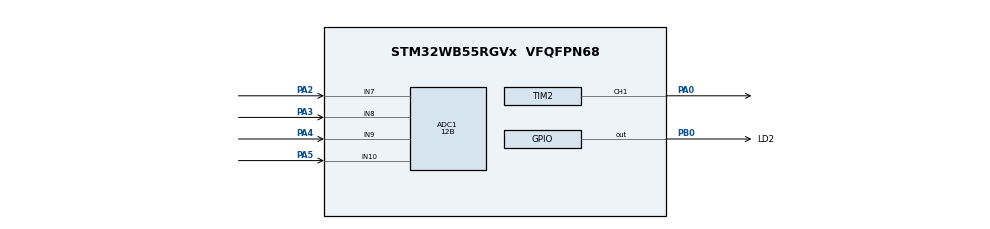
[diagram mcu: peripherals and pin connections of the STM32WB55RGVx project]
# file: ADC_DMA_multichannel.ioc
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ADC1.Channel-0\#ChannelRegularConversion=ADC_CHANNEL_7
ADC1.Channel-1\#ChannelRegularConversion=ADC_CHANNEL_8
ADC1.Channel-2\#ChannelRegularConversion=ADC_CHANNEL_9
ADC1.Channel-3\#ChannelRegularConversion=ADC_CHANNEL_10
ADC1.ContinuousConvMode=ENABLE
ADC1.DMAContinuousRequests=ENABLE
ADC1.NbrOfConversion=4
ADC1.NbrOfConversionFlag=1
ADC1.OffsetNumber-0\#ChannelRegularConversion=ADC_OFFSET_NONE
ADC1.OffsetNumber-1\#ChannelRegularConversion=ADC_OFFSET_NONE
ADC1.OffsetNumber-2\#ChannelRegularConversion=ADC_OFFSET_NONE
ADC1.OffsetNumber-3\#ChannelRegularConversion=ADC_OFFSET_NONE
ADC1.OversamplingMode=ENABLE
ADC1.Rank-0\#ChannelRegularConversion=1
ADC1.Rank-1\#ChannelRegularConversion=2
ADC1.Rank-2\#ChannelRegularConversion=3
ADC1.Rank-3\#ChannelRegularConversion=4
ADC1.Ratio=ADC_OVERSAMPLING_RATIO_256
ADC1.Resolution=ADC_RESOLUTION_12B
ADC1.RightBitShift=ADC_RIGHTBITSHIFT_4
ADC1.SamplingTime-0\#ChannelRegularConversion=ADC_SAMPLETIME_92CYCLES_5
ADC1.SamplingTime-1\#ChannelRegularConversion=ADC_SAMPLETIME_92CYCLES_5
ADC1.SamplingTime-2\#ChannelRegularConversion=ADC_SAMPLETIME_92CYCLES_5
ADC1.SamplingTime-3\#ChannelRegularConversion=ADC_SAMPLETIME_92CYCLES_5
ADC1.master=1
Dma.ADC1.0.Direction=DMA_PERIPH_TO_MEMORY
Dma.ADC1.0.EventEnable=DISABLE
Dma.ADC1.0.Instance=DMA1_Channel1
Dma.ADC1.0.MemDataAlignment=DMA_MDATAALIGN_WORD
Dma.ADC1.0.MemInc=DMA_MINC_ENABLE
Dma.ADC1.0.Mode=DMA_CIRCULAR
Dma.ADC1.0.PeriphDataAlignment=DMA_PDATAALIGN_HALFWORD
Dma.ADC1.0.PeriphInc=DMA_PINC_DISABLE
Dma.ADC1.0.Polarity=HAL_DMAMUX_REQ_GEN_RISING
Dma.ADC1.0.Priority=DMA_PRIORITY_VERY_HIGH
Dma.ADC1.0.RequestNumber=1
Dma.ADC1.0.SignalID=NONE
Dma.ADC1.0.SyncEnable=DISABLE
Dma.ADC1.0.SyncPolarity=HAL_DMAMUX_SYNC_NO_EVENT
Dma.ADC1.0.SyncRequestNumber=1
Dma.ADC1.0.SyncSignalID=NONE
Dma.Request0=ADC1
Mcu.Family=STM32WB
Mcu.Name=STM32WB55RGVx
Mcu.Package=VFQFPN68
NVIC.ADC1_IRQn=true\:0\:0\:false\:false\:true\:true\:true\:true
NVIC.DMA1_Channel1_IRQn=true\:0\:0\:false\:false\:true\:false\:true\:true
NVIC.PriorityGroup=NVIC_PRIORITYGROUP_4
OSC_IN.Mode=HSE-External-Oscillator
OSC_IN.Signal=RCC_OSC_IN
OSC_OUT.Mode=HSE-External-Oscillator
OSC_OUT.Signal=RCC_OSC_OUT
PA0.Signal=S_TIM2_CH1
PA2.Signal=ADCx_IN7
PA3.Signal=ADCx_IN8
PA4.Signal=ADCx_IN9
PA5.Signal=ADCx_IN10
PB0.GPIO_Label=LD2
PB0.Signal=GPIO_Output
ProjectManager.HeapSize=0x200
ProjectManager.StackSize=0x400
ProjectManager.TargetToolchain=STM32CubeIDE
RCC.ADCFreq_Value=48000000
RCC.AHBFreq_Value=32000000
RCC.APB1Freq_Value=32000000
RCC.APB1TimFreq_Value=32000000
RCC.APB2Freq_Value=32000000
RCC.APB2TimFreq_Value=32000000
RCC.APB3Freq_Value=4000000
RCC.Cortex2_Div=SYSTICK_CLKSOURCE_HCLK_DIV8
RCC.CortexFreq_Value=32000000
RCC.HCLKFreq_Value=32000000
RCC.HSE_VALUE=8000000
RCC.HSI48_VALUE=48000000
RCC.HSI_VALUE=16000000
RCC.LSE_VALUE=32768
RCC.PLLN=24
RCC.PLLR=RCC_PLLR_DIV3
RCC.PLLSAI1N=24
RCC.SYSCLKFreq_VALUE=32000000
RCC.SYSCLKSource=RCC_SYSCLKSOURCE_PLLCLK
RCC.USBFreq_Value=48000000
RCC.VCOOutputFreq_Value=96000000
SH.ADCx_IN10.0=ADC1_IN10,IN10-Single-Ended
SH.ADCx_IN7.0=ADC1_IN7,IN7-Single-Ended
SH.ADCx_IN8.0=ADC1_IN8,IN8-Single-Ended
SH.ADCx_IN9.0=ADC1_IN9,IN9-Single-Ended
SH.S_TIM2_CH1.0=TIM2_CH1,PWM Generation1 CH1
TIM2.AutoReloadPreload=TIM_AUTORELOAD_PRELOAD_ENABLE
TIM2.Channel-PWM\ Generation1\ CH1=TIM_CHANNEL_1
TIM2.Period=65535
VP_TIM2_VS_ClockSourceINT.Mode=Internal
board=custom

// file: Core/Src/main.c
/* USER CODE BEGIN Header */
/**
  ******************************************************************************
  * @file           : main.c
  * @brief          : Main program body
  ******************************************************************************
  * @attention
  *
  * Copyright (c) 2023 STMicroelectronics.
  * All rights reserved.
  *
  * This software is licensed under terms that can be found in the LICENSE file
  * in the root directory of this software component.
  * If no LICENSE file comes with this software, it is provided AS-IS.
  *
  ******************************************************************************
  */
//ADC_DMA_multi+oversampling(scratch)
/* USER CODE END Header */
#include "main.h"

/* USER CODE BEGIN Includes */
#include <string.h>
#include <stdio.h>
/* USER CODE END Includes */

/* USER CODE BEGIN PD */
#define ADC_BUF_LEN 4
/* USER CODE END PD */

ADC_HandleTypeDef hadc1;
DMA_HandleTypeDef hdma_adc1;

TIM_HandleTypeDef htim2;

/* USER CODE BEGIN PV */
uint32_t adc[4], buffer[4]; //ADC val, adc[0]=CH7(PA2/D1), adc[1]=CH8(PA3/D0), adc[2]=CH9(PA4/D10), adc[3]=CH10(PA5/D13)
float vOUT; //calculated output voltage
float vIN; //input voltage derived from ADC val[0]
float R1 = 30000.0;
float R2 = 7500.0;
float Amps; //input current derived from ADC val[1]
float Psi_1; //input pressure derived from ADC val[2]
float Psi_2; //input pressure derived from ADC val[3]
/* USER CODE END PV */

void SystemClock_Config(void);
void PeriphCommonClock_Config(void);
static void MX_GPIO_Init(void);
static void MX_DMA_Init(void);
static void MX_ADC1_Init(void);
static void MX_TIM2_Init(void);

int main(void)
{

  /* MCU Configuration--------------------------------------------------------*/

  /* Reset of all peripherals, Initializes the Flash interface and the Systick. */
  HAL_Init();

  /* Configure the system clock */
  SystemClock_Config();

/* Configure the peripherals common clocks */
  PeriphCommonClock_Config();

  /* Initialize all configured peripherals */
  MX_GPIO_Init();
  MX_DMA_Init();
  MX_ADC1_Init();
  MX_TIM2_Init();
  /* USER CODE BEGIN 2 */
  HAL_TIM_PWM_Start(&htim2, TIM_CHANNEL_1);
  // Calibrate The ADC On Power-Up For Better Accuracy
  HAL_ADCEx_Calibration_Start(&hadc1, ADC_SINGLE_ENDED);
  /* USER CODE END 2 */

  /* Infinite loop */
  /* USER CODE BEGIN WHILE */
  while (1)
  {
      HAL_ADC_Start_DMA(&hadc1, buffer, ADC_BUF_LEN); //start ADC -> read adc1 value -> read adc2 value -> read adc3 value and stop ADC
      HAL_Delay(100);
    /* USER CODE END WHILE */

  }
}

void SystemClock_Config(void)
{
  RCC_OscInitTypeDef RCC_OscInitStruct = {0};
  RCC_ClkInitTypeDef RCC_ClkInitStruct = {0};

  /** Configure the main internal regulator output voltage
  */
  __HAL_PWR_VOLTAGESCALING_CONFIG(PWR_REGULATOR_VOLTAGE_SCALE1);

  /** Initializes the RCC Oscillators according to the specified parameters
  * in the RCC_OscInitTypeDef structure.
  */
  RCC_OscInitStruct.OscillatorType = RCC_OSCILLATORTYPE_HSI|RCC_OSCILLATORTYPE_HSE
                              |RCC_OSCILLATORTYPE_MSI;
  RCC_OscInitStruct.HSEState = RCC_HSE_ON;
  RCC_OscInitStruct.HSIState = RCC_HSI_ON;
  RCC_OscInitStruct.MSIState = RCC_MSI_ON;
  RCC_OscInitStruct.HSICalibrationValue = RCC_HSICALIBRATION_DEFAULT;
  RCC_OscInitStruct.MSICalibrationValue = RCC_MSICALIBRATION_DEFAULT;
  RCC_OscInitStruct.MSIClockRange = RCC_MSIRANGE_6;
  RCC_OscInitStruct.PLL.PLLState = RCC_PLL_ON;
  RCC_OscInitStruct.PLL.PLLSource = RCC_PLLSOURCE_MSI;
  RCC_OscInitStruct.PLL.PLLM = RCC_PLLM_DIV1;
  RCC_OscInitStruct.PLL.PLLN = 24;
  RCC_OscInitStruct.PLL.PLLP = RCC_PLLP_DIV2;
  RCC_OscInitStruct.PLL.PLLR = RCC_PLLR_DIV3;
  RCC_OscInitStruct.PLL.PLLQ = RCC_PLLQ_DIV2;
  if (HAL_RCC_OscConfig(&RCC_OscInitStruct) != HAL_OK)
  {
    Error_Handler();
  }

  /** Configure the SYSCLKSource, HCLK, PCLK1 and PCLK2 clocks dividers
  */
  RCC_ClkInitStruct.ClockType = RCC_CLOCKTYPE_HCLK4|RCC_CLOCKTYPE_HCLK2
                              |RCC_CLOCKTYPE_HCLK|RCC_CLOCKTYPE_SYSCLK
                              |RCC_CLOCKTYPE_PCLK1|RCC_CLOCKTYPE_PCLK2;
  RCC_ClkInitStruct.SYSCLKSource = RCC_SYSCLKSOURCE_PLLCLK;
  RCC_ClkInitStruct.AHBCLKDivider = RCC_SYSCLK_DIV1;
  RCC_ClkInitStruct.APB1CLKDivider = RCC_HCLK_DIV1;
  RCC_ClkInitStruct.APB2CLKDivider = RCC_HCLK_DIV1;
  RCC_ClkInitStruct.AHBCLK2Divider = RCC_SYSCLK_DIV1;
  RCC_ClkInitStruct.AHBCLK4Divider = RCC_SYSCLK_DIV1;

  if (HAL_RCC_ClockConfig(&RCC_ClkInitStruct, FLASH_LATENCY_1) != HAL_OK)
  {
    Error_Handler();
  }
}

void PeriphCommonClock_Config(void)
{
  RCC_PeriphCLKInitTypeDef PeriphClkInitStruct = {0};

  /** Initializes the peripherals clock
  */
  PeriphClkInitStruct.PeriphClockSelection = RCC_PERIPHCLK_SMPS;
  PeriphClkInitStruct.SmpsClockSelection = RCC_SMPSCLKSOURCE_HSI;
  PeriphClkInitStruct.SmpsDivSelection = RCC_SMPSCLKDIV_RANGE1;

  if (HAL_RCCEx_PeriphCLKConfig(&PeriphClkInitStruct) != HAL_OK)
  {
    Error_Handler();
  }
}

static void MX_ADC1_Init(void)
{

  ADC_ChannelConfTypeDef sConfig = {0};

  /** Common config
  */
  hadc1.Instance = ADC1;
  hadc1.Init.ClockPrescaler = ADC_CLOCK_ASYNC_DIV1;
  hadc1.Init.Resolution = ADC_RESOLUTION_12B;
  hadc1.Init.DataAlign = ADC_DATAALIGN_RIGHT;
  hadc1.Init.ScanConvMode = ADC_SCAN_ENABLE;
  hadc1.Init.EOCSelection = ADC_EOC_SINGLE_CONV;
  hadc1.Init.LowPowerAutoWait = DISABLE;
  hadc1.Init.ContinuousConvMode = ENABLE;
  hadc1.Init.NbrOfConversion = 4;
  hadc1.Init.DiscontinuousConvMode = DISABLE;
  hadc1.Init.ExternalTrigConv = ADC_SOFTWARE_START;
  hadc1.Init.ExternalTrigConvEdge = ADC_EXTERNALTRIGCONVEDGE_NONE;
  hadc1.Init.DMAContinuousRequests = ENABLE;
  hadc1.Init.Overrun = ADC_OVR_DATA_PRESERVED;
  hadc1.Init.OversamplingMode = ENABLE;
  hadc1.Init.Oversampling.Ratio = ADC_OVERSAMPLING_RATIO_256;
  hadc1.Init.Oversampling.RightBitShift = ADC_RIGHTBITSHIFT_4;
  hadc1.Init.Oversampling.TriggeredMode = ADC_TRIGGEREDMODE_SINGLE_TRIGGER;
  hadc1.Init.Oversampling.OversamplingStopReset = ADC_REGOVERSAMPLING_CONTINUED_MODE;
  if (HAL_ADC_Init(&hadc1) != HAL_OK)
  {
    Error_Handler();
  }

  /** Configure Regular Channel
  */
  sConfig.Channel = ADC_CHANNEL_7;
  sConfig.Rank = ADC_REGULAR_RANK_1;
  sConfig.SamplingTime = ADC_SAMPLETIME_92CYCLES_5;
  sConfig.SingleDiff = ADC_SINGLE_ENDED;
  sConfig.OffsetNumber = ADC_OFFSET_NONE;
  sConfig.Offset = 0;
  if (HAL_ADC_ConfigChannel(&hadc1, &sConfig) != HAL_OK)
  {
    Error_Handler();
  }

  /** Configure Regular Channel
  */
  sConfig.Channel = ADC_CHANNEL_8;
  sConfig.Rank = ADC_REGULAR_RANK_2;
  if (HAL_ADC_ConfigChannel(&hadc1, &sConfig) != HAL_OK)
  {
    Error_Handler();
  }

  /** Configure Regular Channel
  */
  sConfig.Channel = ADC_CHANNEL_9;
  sConfig.Rank = ADC_REGULAR_RANK_3;
  if (HAL_ADC_ConfigChannel(&hadc1, &sConfig) != HAL_OK)
  {
    Error_Handler();
  }

  /** Configure Regular Channel
  */
  sConfig.Channel = ADC_CHANNEL_10;
  sConfig.Rank = ADC_REGULAR_RANK_4;
  if (HAL_ADC_ConfigChannel(&hadc1, &sConfig) != HAL_OK)
  {
    Error_Handler();
  }

}

static void MX_TIM2_Init(void)
{

  TIM_ClockConfigTypeDef sClockSourceConfig = {0};
  TIM_MasterConfigTypeDef sMasterConfig = {0};
  TIM_OC_InitTypeDef sConfigOC = {0};

  htim2.Instance = TIM2;
  htim2.Init.Prescaler = 0;
  htim2.Init.CounterMode = TIM_COUNTERMODE_UP;
  htim2.Init.Period = 65535;
  htim2.Init.ClockDivision = TIM_CLOCKDIVISION_DIV1;
  htim2.Init.AutoReloadPreload = TIM_AUTORELOAD_PRELOAD_ENABLE;
  if (HAL_TIM_Base_Init(&htim2) != HAL_OK)
  {
    Error_Handler();
  }
  sClockSourceConfig.ClockSource = TIM_CLOCKSOURCE_INTERNAL;
  if (HAL_TIM_ConfigClockSource(&htim2, &sClockSourceConfig) != HAL_OK)
  {
    Error_Handler();
  }
  if (HAL_TIM_PWM_Init(&htim2) != HAL_OK)
  {
    Error_Handler();
  }
  sMasterConfig.MasterOutputTrigger = TIM_TRGO_RESET;
  sMasterConfig.MasterSlaveMode = TIM_MASTERSLAVEMODE_DISABLE;
  if (HAL_TIMEx_MasterConfigSynchronization(&htim2, &sMasterConfig) != HAL_OK)
  {
    Error_Handler();
  }
  sConfigOC.OCMode = TIM_OCMODE_PWM1;
  sConfigOC.Pulse = 0;
  sConfigOC.OCPolarity = TIM_OCPOLARITY_HIGH;
  sConfigOC.OCFastMode = TIM_OCFAST_DISABLE;
  if (HAL_TIM_PWM_ConfigChannel(&htim2, &sConfigOC, TIM_CHANNEL_1) != HAL_OK)
  {
    Error_Handler();
  }
  HAL_TIM_MspPostInit(&htim2);

}

static void MX_DMA_Init(void)
{

  /* DMA controller clock enable */
  __HAL_RCC_DMAMUX1_CLK_ENABLE();
  __HAL_RCC_DMA1_CLK_ENABLE();

  /* DMA interrupt init */
  /* DMA1_Channel1_IRQn interrupt configuration */
  HAL_NVIC_SetPriority(DMA1_Channel1_IRQn, 0, 0);
  HAL_NVIC_EnableIRQ(DMA1_Channel1_IRQn);

}

static void MX_GPIO_Init(void)
{
  GPIO_InitTypeDef GPIO_InitStruct = {0};

  /* GPIO Ports Clock Enable */
  __HAL_RCC_GPIOA_CLK_ENABLE();
  __HAL_RCC_GPIOB_CLK_ENABLE();

  /*Configure GPIO pin Output Level */
  HAL_GPIO_WritePin(LD2_GPIO_Port, LD2_Pin, GPIO_PIN_RESET);

  /*Configure GPIO pin : LD2_Pin */
  GPIO_InitStruct.Pin = LD2_Pin;
  GPIO_InitStruct.Mode = GPIO_MODE_OUTPUT_PP;
  GPIO_InitStruct.Pull = GPIO_NOPULL;
  GPIO_InitStruct.Speed = GPIO_SPEED_FREQ_LOW;
  HAL_GPIO_Init(LD2_GPIO_Port, &GPIO_InitStruct);

}

/* USER CODE BEGIN 4 */
void HAL_ADC_ConvHalfCpltCallback(ADC_HandleTypeDef* hadc) {
	for (int i = 0; i<4; i++){
		adc[i] = buffer[i];// store the values in adc[]
	}
  vOUT = (adc[0] * 4.987) / 65535.0; //vOUT = (adc[0] * 5.0) / 2^16;
  vIN = vOUT / (R2/(R1+R2));
  Amps = (adc[1] * 10) / 65535.0; //Amps = 2 * (ADC val / 2^16) * 5
  //Both voltage-psi are linear: 0psi = 0.5V, 200psi = 4.5V => psi = 50V-25
  Psi_1 = 50 * (adc[2] * 5.0 / 65535.0) -25;
  Psi_2 = 50 * (adc[3] * 5.0 / 65535.0) -25;
  HAL_GPIO_WritePin(LD2_GPIO_Port, LD2_Pin, GPIO_PIN_SET);
}

// Called when buffer is completely filled
void HAL_ADC_ConvCpltCallback(ADC_HandleTypeDef* hadc) {
  HAL_GPIO_WritePin(LD2_GPIO_Port, LD2_Pin, GPIO_PIN_RESET);
}
/* USER CODE END 4 */

void Error_Handler(void)
{
  __disable_irq();
  while (1)
  {
  }
}
